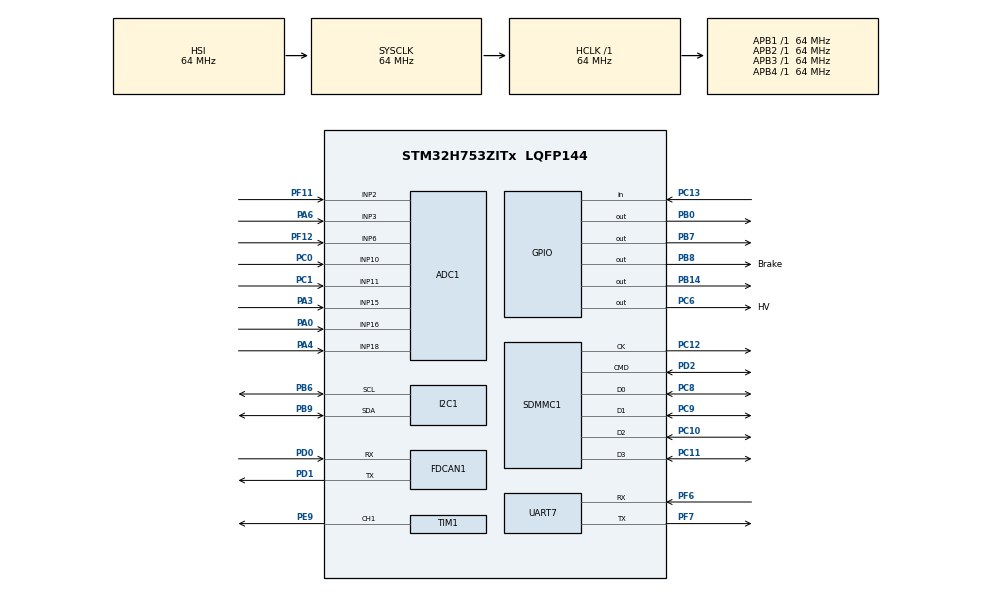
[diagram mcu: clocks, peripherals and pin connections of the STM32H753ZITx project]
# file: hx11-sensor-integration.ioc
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ADC1.Channel-10\#ChannelRegularConversion=ADC_CHANNEL_6
ADC1.Channel-2\#ChannelRegularConversion=ADC_CHANNEL_16
ADC1.Channel-3\#ChannelRegularConversion=ADC_CHANNEL_15
ADC1.Channel-4\#ChannelRegularConversion=ADC_CHANNEL_18
ADC1.Channel-5\#ChannelRegularConversion=ADC_CHANNEL_3
ADC1.Channel-6\#ChannelRegularConversion=ADC_CHANNEL_10
ADC1.Channel-7\#ChannelRegularConversion=ADC_CHANNEL_11
ADC1.Channel-8\#ChannelRegularConversion=ADC_CHANNEL_2
ADC1.ContinuousConvMode=ENABLE
ADC1.ConversionDataManagement=ADC_CONVERSIONDATA_DMA_CIRCULAR
ADC1.NbrOfConversion=8
ADC1.NbrOfConversionFlag=1
ADC1.OffsetNumber-10\#ChannelRegularConversion=ADC_OFFSET_NONE
ADC1.OffsetNumber-2\#ChannelRegularConversion=ADC_OFFSET_NONE
ADC1.OffsetNumber-3\#ChannelRegularConversion=ADC_OFFSET_NONE
ADC1.OffsetNumber-4\#ChannelRegularConversion=ADC_OFFSET_NONE
ADC1.OffsetNumber-5\#ChannelRegularConversion=ADC_OFFSET_NONE
ADC1.OffsetNumber-6\#ChannelRegularConversion=ADC_OFFSET_NONE
ADC1.OffsetNumber-7\#ChannelRegularConversion=ADC_OFFSET_NONE
ADC1.OffsetNumber-8\#ChannelRegularConversion=ADC_OFFSET_NONE
ADC1.OffsetSignedSaturation-10\#ChannelRegularConversion=DISABLE
ADC1.OffsetSignedSaturation-2\#ChannelRegularConversion=DISABLE
ADC1.OffsetSignedSaturation-3\#ChannelRegularConversion=DISABLE
ADC1.OffsetSignedSaturation-4\#ChannelRegularConversion=DISABLE
ADC1.OffsetSignedSaturation-5\#ChannelRegularConversion=DISABLE
ADC1.OffsetSignedSaturation-6\#ChannelRegularConversion=DISABLE
ADC1.OffsetSignedSaturation-7\#ChannelRegularConversion=DISABLE
ADC1.OffsetSignedSaturation-8\#ChannelRegularConversion=DISABLE
ADC1.Rank-10\#ChannelRegularConversion=8
ADC1.Rank-2\#ChannelRegularConversion=1
ADC1.Rank-3\#ChannelRegularConversion=2
ADC1.Rank-4\#ChannelRegularConversion=3
ADC1.Rank-5\#ChannelRegularConversion=4
ADC1.Rank-6\#ChannelRegularConversion=5
ADC1.Rank-7\#ChannelRegularConversion=6
ADC1.Rank-8\#ChannelRegularConversion=7
ADC1.SamplingTime-10\#ChannelRegularConversion=ADC_SAMPLETIME_1CYCLE_5
ADC1.SamplingTime-2\#ChannelRegularConversion=ADC_SAMPLETIME_810CYCLES_5
ADC1.SamplingTime-3\#ChannelRegularConversion=ADC_SAMPLETIME_810CYCLES_5
ADC1.SamplingTime-4\#ChannelRegularConversion=ADC_SAMPLETIME_810CYCLES_5
ADC1.SamplingTime-5\#ChannelRegularConversion=ADC_SAMPLETIME_810CYCLES_5
ADC1.SamplingTime-6\#ChannelRegularConversion=ADC_SAMPLETIME_810CYCLES_5
ADC1.SamplingTime-7\#ChannelRegularConversion=ADC_SAMPLETIME_810CYCLES_5
ADC1.SamplingTime-8\#ChannelRegularConversion=ADC_SAMPLETIME_810CYCLES_5
ADC1.master=1
CORTEX_M7.CPU_DCache=Disabled
CORTEX_M7.CPU_ICache=Disabled
CORTEX_M7.MPU_Control=__NULL
CORTEX_M7.default_mode_Activation=1
Dma.ADC1.0.Direction=DMA_PERIPH_TO_MEMORY
Dma.ADC1.0.EventEnable=DISABLE
Dma.ADC1.0.FIFOMode=DMA_FIFOMODE_DISABLE
Dma.ADC1.0.Instance=DMA1_Stream0
Dma.ADC1.0.MemDataAlignment=DMA_MDATAALIGN_HALFWORD
Dma.ADC1.0.MemInc=DMA_MINC_ENABLE
Dma.ADC1.0.Mode=DMA_CIRCULAR
Dma.ADC1.0.PeriphDataAlignment=DMA_PDATAALIGN_HALFWORD
Dma.ADC1.0.PeriphInc=DMA_PINC_DISABLE
Dma.ADC1.0.Polarity=HAL_DMAMUX_REQ_GEN_RISING
Dma.ADC1.0.Priority=DMA_PRIORITY_LOW
Dma.ADC1.0.RequestNumber=1
Dma.ADC1.0.SignalID=NONE
Dma.ADC1.0.SyncEnable=DISABLE
Dma.ADC1.0.SyncPolarity=HAL_DMAMUX_SYNC_NO_EVENT
Dma.ADC1.0.SyncRequestNumber=1
Dma.ADC1.0.SyncSignalID=NONE
Dma.Request0=ADC1
Dma.Request1=TIM1_CH1
Dma.Request2=UART7_TX
Dma.TIM1_CH1.1.Direction=DMA_MEMORY_TO_PERIPH
Dma.TIM1_CH1.1.EventEnable=DISABLE
Dma.TIM1_CH1.1.FIFOMode=DMA_FIFOMODE_DISABLE
Dma.TIM1_CH1.1.Instance=DMA1_Stream1
Dma.TIM1_CH1.1.MemDataAlignment=DMA_MDATAALIGN_HALFWORD
Dma.TIM1_CH1.1.MemInc=DMA_MINC_ENABLE
Dma.TIM1_CH1.1.Mode=DMA_NORMAL
Dma.TIM1_CH1.1.PeriphDataAlignment=DMA_PDATAALIGN_HALFWORD
Dma.TIM1_CH1.1.PeriphInc=DMA_PINC_DISABLE
Dma.TIM1_CH1.1.Polarity=HAL_DMAMUX_REQ_GEN_RISING
Dma.TIM1_CH1.1.Priority=DMA_PRIORITY_LOW
Dma.TIM1_CH1.1.RequestNumber=1
Dma.TIM1_CH1.1.SignalID=NONE
Dma.TIM1_CH1.1.SyncEnable=DISABLE
Dma.TIM1_CH1.1.SyncPolarity=HAL_DMAMUX_SYNC_NO_EVENT
Dma.TIM1_CH1.1.SyncRequestNumber=1
Dma.TIM1_CH1.1.SyncSignalID=NONE
Dma.UART7_TX.2.Direction=DMA_MEMORY_TO_PERIPH
Dma.UART7_TX.2.EventEnable=DISABLE
Dma.UART7_TX.2.FIFOMode=DMA_FIFOMODE_DISABLE
Dma.UART7_TX.2.Instance=DMA1_Stream2
Dma.UART7_TX.2.MemDataAlignment=DMA_MDATAALIGN_BYTE
Dma.UART7_TX.2.MemInc=DMA_MINC_ENABLE
Dma.UART7_TX.2.Mode=DMA_NORMAL
Dma.UART7_TX.2.PeriphDataAlignment=DMA_PDATAALIGN_BYTE
Dma.UART7_TX.2.PeriphInc=DMA_PINC_DISABLE
Dma.UART7_TX.2.Polarity=HAL_DMAMUX_REQ_GEN_RISING
Dma.UART7_TX.2.Priority=DMA_PRIORITY_MEDIUM
Dma.UART7_TX.2.RequestNumber=1
Dma.UART7_TX.2.SignalID=NONE
Dma.UART7_TX.2.SyncEnable=DISABLE
Dma.UART7_TX.2.SyncPolarity=HAL_DMAMUX_SYNC_NO_EVENT
Dma.UART7_TX.2.SyncRequestNumber=1
Dma.UART7_TX.2.SyncSignalID=NONE
FDCAN1.CalculateBaudRateNominal=250000
FDCAN1.CalculateTimeBitNominal=4000
FDCAN1.CalculateTimeQuantumNominal=250.0
FDCAN1.ExtFiltersNbr=2
FDCAN1.NominalPrescaler=10
FDCAN1.NominalTimeSeg1=13
FDCAN1.NominalTimeSeg2=2
FDCAN1.RxFifo0ElmtsNbr=4
FREERTOS.Tasks01=lidarTask,24,128,StartLidarTask,Default,NULL,Dynamic,NULL,NULL;mpuTask,16,128,StartMPUTask,Default,NULL,Dynamic,NULL,NULL;thermistorsTask,25,128,StartThermistorsTask,Default,NULL,Dynamic,NULL,NULL;INA219Task,27,128,StartINA219Task,Default,NULL,Dynamic,NULL,NULL;telemetryTask,24,128,StartTelemetryTask,Default,NULL,Dynamic,NULL,NULL;commandTask,27,128,StartCommandTask,Default,NULL,Dynamic,NULL,NULL;fsmTask,40,128,StartFSMTask,Default,NULL,Dynamic,NULL,NULL;CANTask,28,128,StartCANTask,Default,NULL,Dynamic,NULL,NULL;INA260Task,24,128,StartINA260Task,Default,NULL,Dynamic,NULL,NULL
FREERTOS.configUSE_NEWLIB_REENTRANT=1
Mcu.Family=STM32H7
Mcu.Name=STM32H753ZITx
Mcu.Package=LQFP144
NUCLEO-H753ZI.BUTTON=1
NUCLEO-H753ZI.LD1=true
NUCLEO-H753ZI.LD2=true
NUCLEO-H753ZI.LD3=true
NUCLEO-H753ZI.VCP=true
NVIC.ADC_IRQn=true\:5\:0\:true\:false\:true\:true\:true\:true\:true
NVIC.DMA1_Stream0_IRQn=true\:5\:0\:false\:false\:true\:true\:false\:true\:true
NVIC.DMA1_Stream1_IRQn=true\:5\:0\:false\:false\:true\:true\:false\:true\:true
NVIC.DMA1_Stream2_IRQn=true\:5\:0\:false\:false\:true\:true\:false\:true\:true
NVIC.EXTI15_10_IRQn=true\:5\:0\:false\:false\:true\:true\:false\:true\:true
NVIC.FDCAN1_IT0_IRQn=true\:5\:0\:false\:false\:true\:true\:true\:true\:true
NVIC.I2C1_ER_IRQn=true\:5\:0\:false\:false\:true\:true\:true\:true\:true
NVIC.I2C1_EV_IRQn=true\:5\:0\:false\:false\:true\:true\:true\:true\:true
NVIC.PriorityGroup=NVIC_PRIORITYGROUP_4
NVIC.TIM2_IRQn=true\:15\:0\:false\:false\:true\:false\:false\:true\:true
NVIC.TimeBase=TIM2_IRQn
NVIC.TimeBaseIP=TIM2
NVIC.UART7_IRQn=true\:5\:0\:false\:false\:true\:true\:true\:true\:true
PA0.Mode=IN16-Single-Ended
PA0.Signal=ADC1_INP16
PA3.Signal=ADCx_INP15
PA4.Signal=ADCx_INP18
PA6.Signal=ADCx_INP3
PB0.Signal=GPIO_Output
PB14.Signal=GPIO_Output
PB6.Mode=I2C
PB6.Signal=I2C1_SCL
PB7.Signal=GPIO_Output
PB8.GPIO_Label=Brake
PB8.PinState=GPIO_PIN_SET
PB8.Signal=GPIO_Output
PB9.Mode=I2C
PB9.Signal=I2C1_SDA
PC0.Signal=ADCx_INP10
PC1.Signal=ADCx_INP11
PC10.Mode=SD_4_bits_Wide_bus
PC10.Signal=SDMMC1_D2
PC11.Mode=SD_4_bits_Wide_bus
PC11.Signal=SDMMC1_D3
PC12.Mode=SD_4_bits_Wide_bus
PC12.Signal=SDMMC1_CK
PC13.Signal=GPIO_Input
PC14-OSC32_IN\ (OSC32_IN).Signal=RCC_OSC32_IN
PC15-OSC32_OUT\ (OSC32_OUT).Signal=RCC_OSC32_OUT
PC6.GPIO_Label=HV
PC6.Signal=GPIO_Output
PC8.Mode=SD_4_bits_Wide_bus
PC8.Signal=SDMMC1_D0
PC9.Mode=SD_4_bits_Wide_bus
PC9.Signal=SDMMC1_D1
PD0.Mode=FDCAN_Activate
PD0.Signal=FDCAN1_RX
PD1.Mode=FDCAN_Activate
PD1.Signal=FDCAN1_TX
PD2.Mode=SD_4_bits_Wide_bus
PD2.Signal=SDMMC1_CMD
PD8.Signal=USART3_TX
PD9.Signal=USART3_RX
PE9.Signal=S_TIM1_CH1
PF11.Mode=IN2-Single-Ended
PF11.Signal=ADC1_INP2
PF12.Mode=IN6-Single-Ended
PF12.Signal=ADC1_INP6
PF6.Mode=Asynchronous
PF6.Signal=UART7_RX
PF7.Mode=Asynchronous
PF7.Signal=UART7_TX
PH0-OSC_IN\ (PH0).Mode=HSE-External-Oscillator
PH0-OSC_IN\ (PH0).Signal=RCC_OSC_IN
PH1-OSC_OUT\ (PH1).Mode=HSE-External-Oscillator
PH1-OSC_OUT\ (PH1).Signal=RCC_OSC_OUT
ProjectManager.HeapSize=0x200
ProjectManager.StackSize=0x400
ProjectManager.TargetToolchain=STM32CubeIDE
RCC.ADCCLockSelection=RCC_ADCCLKSOURCE_CLKP
RCC.ADCFreq_Value=64000000
RCC.APB1Freq_Value=64000000
RCC.APB2Freq_Value=64000000
RCC.APB3Freq_Value=64000000
RCC.APB4Freq_Value=64000000
RCC.CortexFreq_Value=64000000
RCC.DIVM1=4
RCC.DIVN1=10
RCC.DIVQ1=4
RCC.HCLKFreq_Value=64000000
RCC.HSE_VALUE=8000000
RCC.PLL2FRACN=0
RCC.PLLFRACN=0
RCC.PWR_Regulator_Voltage_Scale=PWR_REGULATOR_VOLTAGE_SCALE2
RCC.SDMMC1CLockSelection=RCC_SDMMCCLKSOURCE_PLL2
RCC.SYSCLKFreq_VALUE=64000000
RCC.USBFreq_Value=40000000
SH.ADCx_INP10.0=ADC1_INP10,IN10-Single-Ended
SH.ADCx_INP11.0=ADC1_INP11,IN11-Single-Ended
SH.ADCx_INP15.0=ADC1_INP15,IN15-Single-Ended
SH.ADCx_INP18.0=ADC1_INP18,IN18-Single-Ended
SH.ADCx_INP3.0=ADC1_INP3,IN3-Single-Ended
SH.S_TIM1_CH1.0=TIM1_CH1,PWM Generation1 CH1
TIM1.Channel-PWM\ Generation1\ CH1=TIM_CHANNEL_1
TIM1.Period=80-1
VP_FREERTOS_VS_CMSIS_V2.Mode=CMSIS_V2
VP_MEMORYMAP_VS_MEMORYMAP.Mode=CurAppReg
VP_NUCLEO-H753ZI_VS_BSP_COMMON.Mode=COMMON
VP_SYS_VS_tim2.Mode=TIM2
VP_TIM1_VS_ClockSourceINT.Mode=Internal
board=NUCLEO-H753ZI

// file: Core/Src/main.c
/* USER CODE BEGIN Header */
/**
  ******************************************************************************
  * @file           : main.c
  * @brief          : Main program body
  ******************************************************************************
  * @attention
  *
  * Copyright (c) 2026 STMicroelectronics.
  * All rights reserved.
  *
  * This software is licensed under terms that can be found in the LICENSE file
  * in the root directory of this software component.
  * If no LICENSE file comes with this software, it is provided AS-IS.
  *
  ******************************************************************************
  */
/* USER CODE END Header */
#include "main.h"
#include "cmsis_os.h"
#include "adc.h"
#include "dma.h"
#include "fdcan.h"
#include "i2c.h"
#include "sdmmc.h"
#include "tim.h"
#include "usart.h"
#include "gpio.h"

/* USER CODE BEGIN Includes */
//#include "can.h"
/* USER CODE END Includes */

COM_InitTypeDef BspCOMInit;

void SystemClock_Config(void);
void PeriphCommonClock_Config(void);
void MX_FREERTOS_Init(void);

/* USER CODE BEGIN 0 */
//int debug0;
//int debug1;
//
//VFD_CAN_Data vfdData;
//BMS_CAN_Data bmsData;
//IMD_CAN_Data imdData;
/* USER CODE END 0 */

int main(void)
{

  /* MCU Configuration--------------------------------------------------------*/

  /* Reset of all peripherals, Initializes the Flash interface and the Systick. */
  HAL_Init();

  /* Configure the system clock */
  SystemClock_Config();

  /* Configure the peripherals common clocks */
  PeriphCommonClock_Config();

  /* Initialize all configured peripherals */
  MX_GPIO_Init();
  MX_DMA_Init();
  MX_ADC1_Init();
  MX_TIM1_Init();
  MX_UART7_Init();
  MX_I2C1_Init();
  MX_FDCAN1_Init();
  MX_SDMMC1_SD_Init();

  /* Init scheduler */
  osKernelInitialize();  /* Call init function for freertos objects (in cmsis_os2.c) */
  MX_FREERTOS_Init();

  /* Initialize leds */
  BSP_LED_Init(LED_GREEN);
  BSP_LED_Init(LED_BLUE);
  BSP_LED_Init(LED_RED);

  /* Initialize USER push-button, will be used to trigger an interrupt each time it's pressed.*/
  BSP_PB_Init(BUTTON_USER, BUTTON_MODE_EXTI);

  /* Initialize COM1 port (115200, 8 bits (7-bit data + 1 stop bit), no parity */
  BspCOMInit.BaudRate   = 115200;
  BspCOMInit.WordLength = COM_WORDLENGTH_8B;
  BspCOMInit.StopBits   = COM_STOPBITS_1;
  BspCOMInit.Parity     = COM_PARITY_NONE;
  BspCOMInit.HwFlowCtl  = COM_HWCONTROL_NONE;
  if (BSP_COM_Init(COM1, &BspCOMInit) != BSP_ERROR_NONE)
  {
    Error_Handler();
  }

  /* Start scheduler */
  osKernelStart();

  /* We should never get here as control is now taken by the scheduler */

  /* Infinite loop */
  while (1)
  {

  }
}

void SystemClock_Config(void)
{
  RCC_OscInitTypeDef RCC_OscInitStruct = {0};
  RCC_ClkInitTypeDef RCC_ClkInitStruct = {0};

  /** Supply configuration update enable
  */
  HAL_PWREx_ConfigSupply(PWR_LDO_SUPPLY);

  /** Configure the main internal regulator output voltage
  */
  __HAL_PWR_VOLTAGESCALING_CONFIG(PWR_REGULATOR_VOLTAGE_SCALE2);

  while(!__HAL_PWR_GET_FLAG(PWR_FLAG_VOSRDY)) {}

  /** Initializes the RCC Oscillators according to the specified parameters
  * in the RCC_OscInitTypeDef structure.
  */
  RCC_OscInitStruct.OscillatorType = RCC_OSCILLATORTYPE_HSI;
  RCC_OscInitStruct.HSIState = RCC_HSI_DIV1;
  RCC_OscInitStruct.HSICalibrationValue = RCC_HSICALIBRATION_DEFAULT;
  RCC_OscInitStruct.PLL.PLLState = RCC_PLL_ON;
  RCC_OscInitStruct.PLL.PLLSource = RCC_PLLSOURCE_HSI;
  RCC_OscInitStruct.PLL.PLLM = 4;
  RCC_OscInitStruct.PLL.PLLN = 10;
  RCC_OscInitStruct.PLL.PLLP = 2;
  RCC_OscInitStruct.PLL.PLLQ = 4;
  RCC_OscInitStruct.PLL.PLLR = 2;
  RCC_OscInitStruct.PLL.PLLRGE = RCC_PLL1VCIRANGE_3;
  RCC_OscInitStruct.PLL.PLLVCOSEL = RCC_PLL1VCOMEDIUM;
  RCC_OscInitStruct.PLL.PLLFRACN = 0;
  if (HAL_RCC_OscConfig(&RCC_OscInitStruct) != HAL_OK)
  {
    Error_Handler();
  }

  /** Initializes the CPU, AHB and APB buses clocks
  */
  RCC_ClkInitStruct.ClockType = RCC_CLOCKTYPE_HCLK|RCC_CLOCKTYPE_SYSCLK
                              |RCC_CLOCKTYPE_PCLK1|RCC_CLOCKTYPE_PCLK2
                              |RCC_CLOCKTYPE_D3PCLK1|RCC_CLOCKTYPE_D1PCLK1;
  RCC_ClkInitStruct.SYSCLKSource = RCC_SYSCLKSOURCE_HSI;
  RCC_ClkInitStruct.SYSCLKDivider = RCC_SYSCLK_DIV1;
  RCC_ClkInitStruct.AHBCLKDivider = RCC_HCLK_DIV1;
  RCC_ClkInitStruct.APB3CLKDivider = RCC_APB3_DIV1;
  RCC_ClkInitStruct.APB1CLKDivider = RCC_APB1_DIV1;
  RCC_ClkInitStruct.APB2CLKDivider = RCC_APB2_DIV1;
  RCC_ClkInitStruct.APB4CLKDivider = RCC_APB4_DIV1;

  if (HAL_RCC_ClockConfig(&RCC_ClkInitStruct, FLASH_LATENCY_1) != HAL_OK)
  {
    Error_Handler();
  }
}

void PeriphCommonClock_Config(void)
{
  RCC_PeriphCLKInitTypeDef PeriphClkInitStruct = {0};

  /** Initializes the peripherals clock
  */
  PeriphClkInitStruct.PeriphClockSelection = RCC_PERIPHCLK_CKPER;
  PeriphClkInitStruct.CkperClockSelection = RCC_CLKPSOURCE_HSI;
  if (HAL_RCCEx_PeriphCLKConfig(&PeriphClkInitStruct) != HAL_OK)
  {
    Error_Handler();
  }
}

void HAL_TIM_PeriodElapsedCallback(TIM_HandleTypeDef *htim)
{
  if (htim->Instance == TIM2)
  {
    HAL_IncTick();
  }
}

void Error_Handler(void)
{
  __disable_irq();
  while (1)
  {
  }
}

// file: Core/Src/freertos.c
/* USER CODE BEGIN Header */
/**
  ******************************************************************************
  * File Name          : freertos.c
  * Description        : Code for freertos applications
  ******************************************************************************
  * @attention
  *
  * Copyright (c) 2026 STMicroelectronics.
  * All rights reserved.
  *
  * This software is licensed under terms that can be found in the LICENSE file
  * in the root directory of this software component.
  * If no LICENSE file comes with this software, it is provided AS-IS.
  *
  ******************************************************************************
  */
/* USER CODE END Header */

#include "FreeRTOS.h"
#include "task.h"
#include "main.h"
#include "cmsis_os.h"

/* USER CODE BEGIN Includes */
#include "fsm_actions.h"

/* USER CODE END Includes */

/* USER CODE BEGIN PTD */
VFD_CAN_Data vfdData;
BMS_CAN_Data bmsData;
IMD_CAN_Data imdData;
/* USER CODE END PTD */

/* USER CODE BEGIN Variables */
FSM_t fsm = {
	.currentState = NONE,
	.previousState = NONE,
	.stateEntry = 1
};

SensorData sensorData;
PreRunStatus preRun;

uint16_t rawValues[THERMISTOR_COUNT];
float thermistorValues[THERMISTOR_COUNT];

osMutexId_t sensorMutex;
osMutexId_t i2cMutex;
osEventFlagsId_t GUIConnectionFlag;
osEventFlagsId_t sensorInitFlag;
osEventFlagsId_t adcFlag;

volatile uint8_t guiCommand = 0;

ina260_t *lv_pow;

INA219_t ina219_upstream;
INA219_t ina219_downstream;
uint32_t object_distance;

uint8_t lidar_ok = 0;
uint8_t mpu_ok = 0;
uint8_t ina_up_ok = 0;
uint8_t ina_down_ok = 0;

volatile uint8_t convCompleted = 0;
volatile uint8_t firstConversionComplete = 0;

void HAL_ADC_ConvCpltCallback(ADC_HandleTypeDef *hadc)
{
	if (hadc->Instance == ADC1) {
		convCompleted = 1;
		if (!firstConversionComplete) {
			firstConversionComplete = 1;
			osEventFlagsSet(adcFlag, ADC_READY_FLAG);
		}
	}
}

uint8_t rxBuffer[1];
uint32_t lastESPHeartbeat = 0;
volatile uint8_t currentCmd = 0;
void HAL_UART_RxCpltCallback(UART_HandleTypeDef *huart) {
    if (huart->Instance == UART7) {
        uint8_t cmd = rxBuffer[0];
        HAL_UART_Receive_IT(&huart7, rxBuffer, 1);
		lastESPHeartbeat = HAL_GetTick();
		currentCmd = cmd;
    }
}

/* USER CODE END Variables */
/* Definitions for lidarTask */
osThreadId_t lidarTaskHandle;
const osThreadAttr_t lidarTask_attributes = {
  .name = "lidarTask",
  .stack_size = 128 * 4,
  .priority = (osPriority_t) osPriorityNormal,
};
/* Definitions for mpuTask */
osThreadId_t mpuTaskHandle;
const osThreadAttr_t mpuTask_attributes = {
  .name = "mpuTask",
  .stack_size = 128 * 4,
  .priority = (osPriority_t) osPriorityBelowNormal,
};
/* Definitions for thermistorsTask */
osThreadId_t thermistorsTaskHandle;
const osThreadAttr_t thermistorsTask_attributes = {
  .name = "thermistorsTask",
  .stack_size = 128 * 4,
  .priority = (osPriority_t) osPriorityNormal1,
};
/* Definitions for INA219Task */
osThreadId_t INA219TaskHandle;
const osThreadAttr_t INA219Task_attributes = {
  .name = "INA219Task",
  .stack_size = 128 * 4,
  .priority = (osPriority_t) osPriorityNormal3,
};
/* Definitions for telemetryTask */
osThreadId_t telemetryTaskHandle;
const osThreadAttr_t telemetryTask_attributes = {
  .name = "telemetryTask",
  .stack_size = 128 * 4,
  .priority = (osPriority_t) osPriorityNormal,
};
/* Definitions for commandTask */
osThreadId_t commandTaskHandle;
const osThreadAttr_t commandTask_attributes = {
  .name = "commandTask",
  .stack_size = 128 * 4,
  .priority = (osPriority_t) osPriorityNormal3,
};
/* Definitions for fsmTask */
osThreadId_t fsmTaskHandle;
const osThreadAttr_t fsmTask_attributes = {
  .name = "fsmTask",
  .stack_size = 128 * 4,
  .priority = (osPriority_t) osPriorityHigh,
};
/* Definitions for CANTask */
osThreadId_t CANTaskHandle;
const osThreadAttr_t CANTask_attributes = {
  .name = "CANTask",
  .stack_size = 128 * 4,
  .priority = (osPriority_t) osPriorityNormal4,
};
/* Definitions for INA260Task */
osThreadId_t INA260TaskHandle;
const osThreadAttr_t INA260Task_attributes = {
  .name = "INA260Task",
  .stack_size = 128 * 4,
  .priority = (osPriority_t) osPriorityNormal,
};

void StartLidarTask(void *argument);
void StartMPUTask(void *argument);
void StartThermistorsTask(void *argument);
void StartINA219Task(void *argument);
void StartTelemetryTask(void *argument);
void StartCommandTask(void *argument);
void StartFSMTask(void *argument);
void StartCANTask(void *argument);
void StartINA260Task(void *argument);

void MX_FREERTOS_Init(void); /* (MISRA C 2004 rule 8.1) */

void MX_FREERTOS_Init(void) {

  /* USER CODE BEGIN RTOS_MUTEX */
	sensorMutex       = osMutexNew(NULL);
	i2cMutex          = osMutexNew(NULL);
	GUIConnectionFlag = osEventFlagsNew(NULL);
	sensorInitFlag    = osEventFlagsNew(NULL);
	adcFlag           = osEventFlagsNew(NULL);
  /* USER CODE END RTOS_MUTEX */

  /* Create the thread(s) */
  /* creation of lidarTask */
  lidarTaskHandle = osThreadNew(StartLidarTask, NULL, &lidarTask_attributes);

  /* creation of mpuTask */
  mpuTaskHandle = osThreadNew(StartMPUTask, NULL, &mpuTask_attributes);

  /* creation of thermistorsTask */
  thermistorsTaskHandle = osThreadNew(StartThermistorsTask, NULL, &thermistorsTask_attributes);

  /* creation of INA219Task */
  INA219TaskHandle = osThreadNew(StartINA219Task, NULL, &INA219Task_attributes);

  /* creation of telemetryTask */
  telemetryTaskHandle = osThreadNew(StartTelemetryTask, NULL, &telemetryTask_attributes);

  /* creation of commandTask */
  commandTaskHandle = osThreadNew(StartCommandTask, NULL, &commandTask_attributes);

  /* creation of fsmTask */
  fsmTaskHandle = osThreadNew(StartFSMTask, NULL, &fsmTask_attributes);

  /* creation of CANTask */
  CANTaskHandle = osThreadNew(StartCANTask, NULL, &CANTask_attributes);

  /* creation of INA260Task */
  INA260TaskHandle = osThreadNew(StartINA260Task, NULL, &INA260Task_attributes);

}

void StartLidarTask(void *argument)
{
  /* USER CODE BEGIN StartLidarTask */
	printf("LIDAR Waiting\r\n");
	osEventFlagsWait(GUIConnectionFlag, GUI_CONNECTED, osFlagsWaitAll | osFlagsNoClear, osWaitForever);
	osEventFlagsWait(sensorInitFlag, SENSOR_INIT_DONE, osFlagsNoClear, osWaitForever);

	SensorData *data = (SensorData *)argument;

	for(;;)
	{
		osEventFlagsWait(GUIConnectionFlag, GUI_CONNECTED, osFlagsWaitAll | osFlagsNoClear, osWaitForever);
		osEventFlagsWait(sensorInitFlag, SENSOR_INIT_DONE, osFlagsNoClear, osWaitForever);

		osMutexAcquire(i2cMutex, osWaitForever);
		object_distance = retrieve_lidar_distance();
		osMutexRelease(i2cMutex);

		osMutexAcquire(sensorMutex, osWaitForever);
		sensorData.lidar_dist = object_distance;
		data->lidar_dist = object_distance;
		osMutexRelease(sensorMutex);

		osDelay(500);
	}
  /* USER CODE END StartLidarTask */
}

void StartMPUTask(void *argument)
{
  /* USER CODE BEGIN StartMPUTask */
	osEventFlagsWait(GUIConnectionFlag, GUI_CONNECTED, osFlagsWaitAll | osFlagsNoClear, osWaitForever);
	osEventFlagsWait(sensorInitFlag, SENSOR_INIT_DONE, osFlagsNoClear, osWaitForever);

	float gyro_x_bias = 0;
	float gyro_y_bias = 0;
	int32_t bias_x_acc = 0, bias_y_acc = 0;
	for (int i = 0; i < 200; i++)
	{
	osMutexAcquire(i2cMutex, osWaitForever);

	if (MPU6050_DataReady())
	{
		MPU6050_ProcessData(&MPU6050);

		bias_x_acc += MPU6050.gyro_x;
		bias_y_acc += MPU6050.gyro_y;
	}

	osMutexRelease(i2cMutex);

	osDelay(5);
	}
	gyro_x_bias = bias_x_acc / 200.0f;
	gyro_y_bias = bias_y_acc / 200.0f;

  /* Infinite loop */
	for(;;)
	{
		osEventFlagsWait(GUIConnectionFlag, GUI_CONNECTED, osFlagsWaitAll | osFlagsNoClear, osWaitForever);
		osEventFlagsWait(sensorInitFlag, SENSOR_INIT_DONE, osFlagsNoClear, osWaitForever);

		osMutexAcquire(i2cMutex, osWaitForever);
		int ready = MPU6050_DataReady();
		if (ready) {
		  MPU6050_ProcessData(&MPU6050);
		}
		osMutexRelease(i2cMutex);

		if (ready) {
		  float gx = MPU6050.gyro_x - gyro_x_bias;
		  float gy = MPU6050.gyro_y - gyro_y_bias;

		  float dt = 0.020f; // 20ms loop delay

		  osMutexAcquire(sensorMutex, osWaitForever);
		  sensorData.roll = gx;
		  sensorData.pitch = gy;
//		  sensorData.roll  += gx * dt;
//		  sensorData.pitch += gy * dt;
		  osMutexRelease(sensorMutex);
		}
		osDelay(20);
	}
  /* USER CODE END StartMPUTask */
}

void StartThermistorsTask(void *argument)
{
  /* USER CODE BEGIN StartThermistorsTask */
	printf("Thermistor Waiting\r\n");
	osEventFlagsWait(GUIConnectionFlag, GUI_CONNECTED, osFlagsWaitAll | osFlagsNoClear, osWaitForever);
	osEventFlagsWait(adcFlag, ADC_READY_FLAG, osFlagsNoClear, osWaitForever);
	osEventFlagsWait(sensorInitFlag, SENSOR_INIT_DONE, osFlagsNoClear, osWaitForever);

	uint32_t startTime = HAL_GetTick();
	uint32_t hours = 0;
	uint32_t minutes = 0;
	uint32_t seconds = 0;
	uint32_t time_elapsed = 0;

  /* Infinite loop */
	for(;;)
	{
		osEventFlagsWait(GUIConnectionFlag, GUI_CONNECTED, osFlagsWaitAll | osFlagsNoClear, osWaitForever);
		osEventFlagsWait(sensorInitFlag, SENSOR_INIT_DONE, osFlagsNoClear, osWaitForever);
		if (convCompleted) {
			convCompleted = 0;
			time_elapsed = HAL_GetTick() - startTime;
			convert_millis_to_hms(time_elapsed, &hours, &minutes, &seconds);
			for (int i=0; i<THERMISTOR_COUNT; i++) {
				thermistorValues[i] = ntc_convertToC(rawValues[i]);;
			}

			osMutexAcquire(sensorMutex, osWaitForever);
			memcpy(sensorData.thermistors, thermistorValues, sizeof(sensorData.thermistors));
			osMutexRelease(sensorMutex);
		}
		osDelay(100);
	  }
  /* USER CODE END StartThermistorsTask */
}

void StartINA219Task(void *argument)
{
  /* USER CODE BEGIN StartINA219Task */
  /* Infinite loop */
	osEventFlagsWait(GUIConnectionFlag, GUI_CONNECTED, osFlagsWaitAll | osFlagsNoClear, osWaitForever);
	osEventFlagsWait(sensorInitFlag, SENSOR_INIT_DONE, osFlagsNoClear, osWaitForever);
	uint16_t up_curr, down_curr;
	float up_psi, down_psi;

  for(;;)
  {
	  osEventFlagsWait(GUIConnectionFlag, GUI_CONNECTED, osFlagsWaitAll | osFlagsNoClear, osWaitForever);
	  osEventFlagsWait(sensorInitFlag, SENSOR_INIT_DONE, osFlagsNoClear, osWaitForever);

	  osMutexAcquire(i2cMutex, osWaitForever);
	  up_curr = INA219_ReadCurrent(&ina219_upstream);
	  up_psi = INA219_ConvToPSI(3, 13, up_curr, 3000);
	  osMutexRelease(i2cMutex);

	  osMutexAcquire(i2cMutex, osWaitForever);
	  down_curr = INA219_ReadCurrent(&ina219_downstream);
	  down_psi = INA219_ConvToPSI(4, 11, down_curr, 145);
	  osMutexRelease(i2cMutex);

	  osMutexAcquire(sensorMutex, osWaitForever);
	  sensorData.pt_up = up_psi;
	  sensorData.pt_down = down_psi;
	  osMutexRelease(sensorMutex);

	  osDelay(200);
  }
  /* USER CODE END StartINA219Task */
}

void StartTelemetryTask(void *argument)
{
  /* USER CODE BEGIN StartTelemetryTask */
	/* Infinite loop */
		osEventFlagsWait(GUIConnectionFlag, GUI_CONNECTED, osFlagsWaitAll | osFlagsNoClear, osWaitForever);

		for(;;)
		{
			osEventFlagsWait(GUIConnectionFlag, GUI_CONNECTED, osFlagsWaitAll | osFlagsNoClear, osWaitForever);

			osMutexAcquire(sensorMutex, osWaitForever);
			sensorData.start_marker = 0xAA;
			HAL_UART_Transmit(&huart7, (uint8_t*)&sensorData, sizeof(SensorData), 100);
			osMutexRelease(sensorMutex);

	//		if (HAL_UART_GetState(&huart7) == HAL_UART_STATE_READY)
	//		{
			// TODO: CAN'T DO NON BLOCKING TRANSMIT UNTIL SET UP UART7 TX DMA IN IOC
	//		  HAL_UART_Transmit_DMA(&huart7, (uint8_t*)&sensorData, sizeof(SensorData));
	//		  sprintf(uart_tx_buff, "UART7 Sent %d bytes successfully\r\n", sizeof(SensorData));
	//		  HAL_UART_Transmit(&hcom_uart[COM1], (uint8_t*)uart_tx_buff, strlen(uart_tx_buff), 100);
	//		}
		  osDelay(100);
		}
  /* USER CODE END StartTelemetryTask */
}

void StartCommandTask(void *argument)
{
  /* USER CODE BEGIN StartCommandTask */
  /* Infinite loop */

	printf("Start Receiving Commands!!\r\n");
	HAL_UART_Receive_IT(&huart7, rxBuffer, 1);
	char msg[50];
	uint8_t prev_cmd = 0;
	const char *cmdNames[] = {
		"NONE", "GUI_OK", "INIT", "LOAD", "START", "STOP", "FAULT"
	};
	uint32_t flags;

	for(;;)
	{
		if (HAL_GetTick() - lastESPHeartbeat > 2000)
		{
		  osEventFlagsClear(GUIConnectionFlag, GUI_CONNECTED);
		  currentCmd = 0;
		}

		uint8_t cmd = currentCmd;

		if (cmd != prev_cmd) {
			prev_cmd = cmd;
			fsm.previousState = fsm.currentState;
			fsm.stateEntry = 1;

			switch (cmd) {
			case 0:
				osEventFlagsClear(GUIConnectionFlag, GUI_CONNECTED);
				osEventFlagsClear(sensorInitFlag, SENSOR_INIT_DONE);
				fsm.currentState = NONE;
				break;
			case 1:
				osEventFlagsSet(GUIConnectionFlag, GUI_CONNECTED);
				osEventFlagsClear(sensorInitFlag, SENSOR_INIT_DONE);
				fsm.currentState = GUI_OK;
				break;
			case 2:
				osEventFlagsSet(GUIConnectionFlag, GUI_CONNECTED);
				fsm.currentState = INIT;
				osEventFlagsClear(sensorInitFlag, SENSOR_INIT_DONE);
				break;
			case 3:
				osEventFlagsSet(GUIConnectionFlag, GUI_CONNECTED);
				flags = osEventFlagsGet(sensorInitFlag);
				if (!flags & !SENSOR_INIT_DONE) {
					fsm.currentState = FAULT;
					// TODO: somehow tell gui need INIT next hehe ask leslie later
					break;
				}
				fsm.currentState = LOAD;
				break;
			case 4:
				osEventFlagsSet(GUIConnectionFlag, GUI_CONNECTED);
				if (fsm.previousState != PRECHARGE) {
					fsm.currentState = FAULT;
					break;
				}
				fsm.currentState = START;
				break;
			case 5:
				osEventFlagsSet(GUIConnectionFlag, GUI_CONNECTED);
				fsm.currentState = STOP;
				break;
			case 6:
				osEventFlagsSet(GUIConnectionFlag, GUI_CONNECTED);
				fsm.currentState = FAULT;
				break;
			default:
				osEventFlagsClear(GUIConnectionFlag, GUI_CONNECTED);
				osEventFlagsClear(sensorInitFlag, SENSOR_INIT_DONE);
				fsm.currentState = NONE;
				break;
			}

			sprintf(msg, "NEW CMD: %d\r\n", cmd);
			HAL_UART_Transmit(&hcom_uart[COM1], (uint8_t*)msg, strlen(msg), 100);

			const char *cmdName = (cmd < sizeof(cmdNames) / sizeof(cmdNames[0])) ? cmdNames[cmd] : "UNKNOWN";

			osMutexAcquire(sensorMutex, osWaitForever);
			snprintf(sensorData.message, sizeof(sensorData.message), "Received %s command", cmdName);
			osMutexRelease(sensorMutex);
		}

	  osDelay(10);
  }
  /* USER CODE END StartCommandTask */
}

void StartFSMTask(void *argument)
{
  /* USER CODE BEGIN StartFSMTask */
	// Wait until the first GUI connection is alive
	printf("In FSM task, waiting for connect");
	osEventFlagsWait(GUIConnectionFlag, GUI_CONNECTED, osFlagsWaitAll | osFlagsNoClear, osWaitForever);

  /* Infinite loop */
	for(;;)
	{
		// Check if GUI is alive
		uint32_t flags = osEventFlagsWait(GUIConnectionFlag, GUI_CONNECTED, osFlagsWaitAll | osFlagsNoClear, 100);
		if (!flags & !GUI_CONNECTED) {
			/* If the GUI is not connected, ensure the pod is stopped. */
			fsm.currentState = NONE;
			none_actions();
			printf("GUI Not Connected");
			continue;
		}

		// GUI IS ALIVE

		// CHECK FOR FAULT CONDITIONS
		flags = osEventFlagsGet(sensorInitFlag);
		if (flags & SENSOR_INIT_DONE) {
			// If sensors are initialized, check fault conditions
			if (fsm.currentState != FAULT) {
				bool fault_found = fault_conditions();
				if (fault_found) {
					fsm.currentState = FAULT;
					fsm.stateEntry = 1;
				}
			}
		}

		// CHANGE STATES ON ENTRY
		int ok = 0;
		if (fsm.stateEntry == 1) {
			fsm.stateEntry = 0;
			switch (fsm.currentState) {
			case NONE:
				none_actions();
				printf(">NONE\r\n");
				break;
			case GUI_OK:
				osMutexAcquire(sensorMutex, osWaitForever);
				ClearSensorData(&sensorData);
				osMutexRelease(sensorMutex);
				printf(">GUI_OK\r\n");
				break;
			case INIT:
				init_actions();
				printf(">INIT\r\n");
				break;
			case LOAD:
				load_actions();
				fsm.previousState = fsm.currentState;
				fsm.currentState = PRECHARGE;
				fsm.stateEntry = 1;
				printf(">LOAD\r\n");
				break;
			case PRECHARGE:
				ok = precharge_actions();
				if (!ok) {
					printf(">PRECHARGE Problem\r\n");
					fsm.previousState = fsm.currentState;
					fsm.currentState = FAULT;
					fsm.stateEntry = 1;
					break;
				}
				printf(">PRECHARGE\r\n");
				break;
			case START:
				ok = start_actions();
				if (!ok) {
					printf(">START Problem\r\n");
					fsm.previousState = fsm.currentState;
					fsm.currentState = FAULT;
					fsm.stateEntry = 1;
					break;
				}
				printf(">START\r\n");
				break;
			case STOP:
				stop_actions();
				printf(">STOP\r\n");
				break;
			case FAULT:
				fault_actions();
				printf(">FAULT\r\n");
				break;
			}

			osMutexAcquire(sensorMutex, osWaitForever);
			sensorData.pod_state = (uint8_t)fsm.currentState;
			osMutexRelease(sensorMutex);
		}
		osDelay(50);
	}
  /* USER CODE END StartFSMTask */
}

void StartCANTask(void *argument)
{
  /* USER CODE BEGIN StartCANTask */
  /* Infinite loop */
	printf("CAN Waiting\r\n");
	osEventFlagsWait(GUIConnectionFlag, GUI_CONNECTED, osFlagsWaitAll | osFlagsNoClear, osWaitForever);
	osEventFlagsWait(sensorInitFlag, SENSOR_INIT_DONE, osFlagsNoClear, osWaitForever);  // ADD THIS
  for(;;)
  {
	osEventFlagsWait(GUIConnectionFlag, GUI_CONNECTED, osFlagsWaitAll | osFlagsNoClear, osWaitForever);
	osEventFlagsWait(sensorInitFlag, SENSOR_INIT_DONE, osFlagsNoClear, osWaitForever);  // AND THIS
	process_CAN250_msgs(&vfdData, &bmsData);

	// Write CAN data to sensorData
	osMutexAcquire(sensorMutex, osWaitForever);

	// VFD data
	sensorData.drive_direction = vfdData.drivingDirection;
	sensorData.encoder_speed = vfdData.encoderSpeed;
	sensorData.error_code = vfdData.errorCode;
	sensorData.batt_voltage = vfdData.batteryVoltage;
	sensorData.motor_curr = vfdData.motorCurrent;
	sensorData.motor_temp = vfdData.motorTemp;
	sensorData.controller_temp = vfdData.controllerTemp;

	// BMS data
	sensorData.lowest_cell_volt = bmsData.lowestCellVoltage;
	sensorData.bms_test_counter = bmsData.bmsTestCounter;
	sensorData.highest_cell_volt = bmsData.highestCellVoltage;
	sensorData.pack_soc = bmsData.packSOC;
	sensorData.highest_temp = bmsData.highestTemp;
	sensorData.pack_volt = bmsData.packVoltage;
	sensorData.lowest_temp = bmsData.lowestTemp;
	sensorData.current_draw = bmsData.currentDraw;
	sensorData.relay_status = bmsData.relayStatus;

	osMutexRelease(sensorMutex);
	osDelay(10);
  }
  /* USER CODE END StartCANTask */
}

void StartINA260Task(void *argument)
{
  /* USER CODE BEGIN StartINA260Task */
  /* Infinite loop */
  for(;;)
  {
	  osEventFlagsWait(GUIConnectionFlag, GUI_CONNECTED, osFlagsWaitAll | osFlagsNoClear, osWaitForever);
	  osEventFlagsWait(sensorInitFlag, SENSOR_INIT_DONE, osFlagsNoClear, osWaitForever);

	  float voltage = 0.0f;
	  osMutexAcquire(i2cMutex, osWaitForever);
	  ina260_status_t status = ina260_get_voltage(lv_pow, &voltage);
	  osMutexRelease(i2cMutex);

	  if (status == HAL_OK) {
	      osMutexAcquire(sensorMutex, osWaitForever);
	      sensorData.lv_batt = voltage;
	      osMutexRelease(sensorMutex);
	  }

	  osDelay(200);
  }
  /* USER CODE END StartINA260Task */
}
